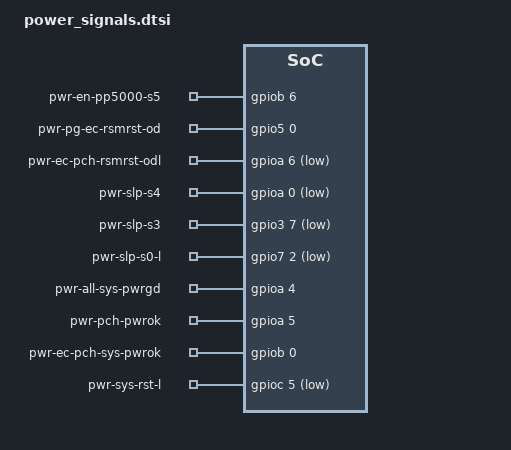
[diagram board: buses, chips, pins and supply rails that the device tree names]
/* Copyright 2026 The ChromiumOS Authors
 * Use of this source code is governed by a BSD-style license that can be
 * found in the LICENSE file.
 */

/ {
	chosen {
		intel-ap-pwrseq,espi = &espi0;
	};

	common-pwrseq {
		compatible = "intel,ap-pwrseq";

		sys-pwrok-delay = <3>;
		all-sys-pwrgd-timeout = <20>;
		sys-reset-delay = <60>;
	};

	pwr-en-pp5000-s5 {
		compatible = "intel,ap-pwrseq-gpio";
		dbg-label = "PP5000_S5 enable output to LS";
		enum-name = "PWR_EN_PP5000_A";
		gpios = <&gpiob 6 GPIO_ACTIVE_HIGH>;
		output;
	};
	pwr-pg-ec-rsmrst-od {
		compatible = "intel,ap-pwrseq-gpio";
		dbg-label = "RSMRST power good from regulator";
		enum-name = "PWR_RSMRST_PWRGD";
		gpios = <&gpio5 0 GPIO_ACTIVE_HIGH>;
		interrupt-flags = <GPIO_INT_EDGE_BOTH>;
	};
	pwr-ec-pch-rsmrst-odl {
		compatible = "intel,ap-pwrseq-gpio";
		dbg-label = "RSMRST output to PCH";
		enum-name = "PWR_EC_PCH_RSMRST";
		gpios = <&gpioa 6 GPIO_ACTIVE_LOW>;
		reset-val = <1>;
		output;
	};
	pwr-slp-s5 {
		compatible = "intel,ap-pwrseq-vw";
		dbg-label = "SLP_S5 virtual wire input from PCH";
		enum-name = "PWR_SLP_S5";
		virtual-wire = "ESPI_VWIRE_SIGNAL_SLP_S5";
		reset-val = <1>;
		vw-invert;
	};
	pwr-slp-s4 {
		compatible = "intel,ap-pwrseq-gpio";
		dbg-label = "SLP_S4_L input from PCH";
		enum-name = "PWR_SLP_S4";
		gpios = <&gpioa 0 (GPIO_ACTIVE_LOW | GPIO_VOLTAGE_1P8)>;
		interrupt-flags = <GPIO_INT_EDGE_BOTH>;
	};
	pwr-slp-s3 {
		compatible = "intel,ap-pwrseq-gpio";
		dbg-label = "SLP_S3_L input from PCH";
		enum-name = "PWR_SLP_S3";
		gpios = <&gpio3 7 (GPIO_ACTIVE_LOW | GPIO_VOLTAGE_1P8)>;
		interrupt-flags = <GPIO_INT_EDGE_BOTH>;
	};
	pwr-slp-s0-l {
		compatible = "intel,ap-pwrseq-gpio";
		dbg-label = "SLP_S0_L input from PCH";
		enum-name = "PWR_SLP_S0";
		gpios = <&gpio7 2 (GPIO_ACTIVE_LOW | GPIO_VOLTAGE_1P8)>;
		interrupt-flags = <GPIO_INT_EDGE_BOTH>;
	};
	pwr-all-sys-pwrgd {
		compatible = "intel,ap-pwrseq-gpio";
		dbg-label = "Combined all power good";
		enum-name = "PWR_ALL_SYS_PWRGD";
		gpios = <&gpioa 4 (GPIO_ACTIVE_HIGH | GPIO_VOLTAGE_1P8)>;
		interrupt-flags = <GPIO_INT_EDGE_BOTH>;
	};
	pwr-pch-pwrok {
		compatible = "intel,ap-pwrseq-gpio";
		dbg-label = "PCH_PWROK output to PCH";
		enum-name = "PWR_PCH_PWROK";
		gpios = <&gpioa 5 GPIO_ACTIVE_HIGH>;
		output;
	};
	pwr-ec-pch-sys-pwrok {
		compatible = "intel,ap-pwrseq-gpio";
		dbg-label = "SYS_PWROK output to PCH";
		enum-name = "PWR_EC_PCH_SYS_PWROK";
		gpios = <&gpiob 0 GPIO_ACTIVE_HIGH>;
		output;
	};
	pwr-sys-rst-l {
		compatible = "intel,ap-pwrseq-gpio";
		dbg-label = "SYS_RST_ODL output to PCH";
		enum-name = "PWR_SYS_RST";
		gpios = <&gpioc 5 (GPIO_ACTIVE_LOW | GPIO_OPEN_DRAIN)>;
		output;
	};
	ap-power {
		compatible = "ap-pwrseq-sub-states";
		chipset = "S0ix";
	};
};

/*
 * Because the power signals directly reference the GPIOs,
 * the correspinding named-gpios need to have no-auto-init set.
 */
&gpio_pg_pp1250_soc_s5_od {
	no-auto-init;
};
&gpio_all_sys_pwrgd {
	no-auto-init;
};
